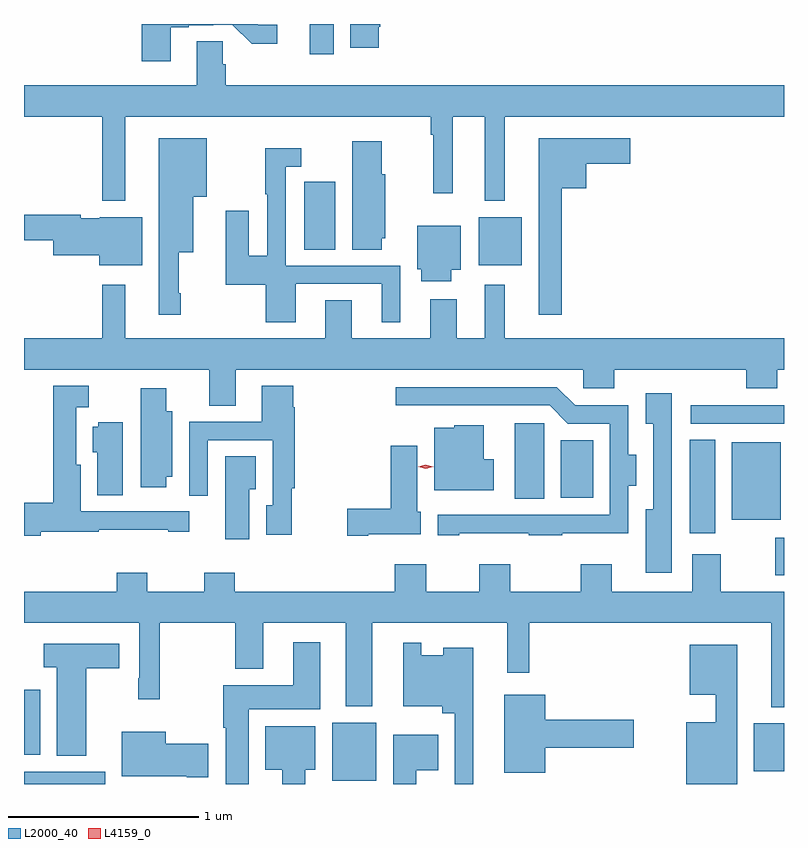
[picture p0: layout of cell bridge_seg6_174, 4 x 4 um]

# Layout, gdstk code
import gdstk
lib = gdstk.Library(unit=1e-6, precision=1e-09)
def R(c, l, rs):  # rectangles x0, y0, x1, y1
    for r in rs: c.add(gdstk.rectangle(r[:2], r[2:], *l))
def P(c, l, *ps):  # polygons
    for p in ps: c.add(gdstk.Polygon(p, *l))
L2000_40 = (2000, 40)
L4159_0 = (4159, 0)

bridge_seg6_174 = lib.new_cell('bridge_seg6_174')
R(bridge_seg6_174, L2000_40, [(171.183,966.467,171.61,966.531), (172.805,966.485,173.038,966.79), (175.025,966.533,175.183,966.787), (171.183,966.62,171.268,966.964), (175.138,967.566,175.183,967.764), (174.686,967.788,174.82,968.279), (174.908,967.859,175.165,968.266), (173.765,967.969,173.92,968.365), (174.008,967.973,174.178,968.275), (174.693,968.364,175.183,968.46), (173.576,969.197,173.803,969.451), (172.658,969.28,172.822,969.637), (172.688,970.308,172.813,970.467)])
P(bridge_seg6_174, L2000_40, [(171.955,970.449),(172.051,970.449),(172.051,970.461),(172.178,970.461),(172.178,970.464),(172.278,970.464),(172.381,970.362),(172.516,970.362),(172.516,970.464),(172.416,970.464),(172.413,970.467),(171.803,970.467),(171.803,970.272),(171.955,970.272)],
  [(173.05,970.453),(173.057,970.453),(173.057,970.467),(172.901,970.467),(172.901,970.341),(173.05,970.341)],
  [(171.715,969.98),(173.323,969.98),(173.323,969.884),(173.338,969.884),(173.338,969.576),(173.44,969.576),(173.44,969.98),(173.609,969.98),(173.609,969.536),(173.713,969.536),(173.713,969.98),(175.183,969.98),(175.183,970.144),(172.244,970.144),(172.244,970.254),(172.23,970.254),(172.23,970.376),(172.091,970.376),(172.091,970.144),(171.183,970.144),(171.183,969.98),(171.594,969.98),(171.594,969.536),(171.715,969.536)],
  [(174.013,969.602),(174.142,969.602),(174.142,969.731),(174.373,969.731),(174.373,969.865),(173.891,969.865),(173.891,968.937),(174.013,968.937)],
  [(172.007,969.049),(171.997,969.049),(171.997,969.266),(172.075,969.266),(172.075,969.557),(172.144,969.557),(172.144,969.865),(171.893,969.865),(171.893,968.937),(172.007,968.937)],
  [(173.065,969.339),(173.083,969.339),(173.083,969.675),(173.065,969.675),(173.065,969.85),(172.91,969.85),(172.91,969.28),(173.065,969.28)],
  [(172.612,969.099),(173.066,969.099),(173.066,968.898),(173.164,968.898),(173.164,969.195),(172.56,969.195),(172.56,969.717),(172.642,969.717),(172.642,969.814),(172.452,969.814),(172.452,969.571),(172.464,969.571),(172.464,969.248),(172.366,969.248),(172.366,969.484),(172.244,969.484),(172.244,969.095),(172.456,969.095),(172.456,968.898),(172.612,968.898)],
  [(171.805,969.451),(171.582,969.451),(171.582,969.445),(171.482,969.445),(171.482,969.464),(171.183,969.464),(171.183,969.328),(171.338,969.328),(171.338,969.251),(171.578,969.251),(171.578,969.197),(171.805,969.197)],
  [(173.431,969.173),(173.482,969.173),(173.482,969.406),(173.252,969.406),(173.252,969.177),(173.273,969.177),(173.273,969.113),(173.431,969.113)],
  [(172.297,968.648),(174.126,968.648),(174.126,968.55),(174.29,968.55),(174.29,968.648),(174.983,968.648),(174.983,968.549),(175.148,968.549),(175.148,968.648),(175.183,968.648),(175.183,968.812),(173.713,968.812),(173.713,969.094),(173.609,969.094),(173.609,968.812),(173.461,968.812),(173.461,969.019),(173.321,969.019),(173.321,968.812),(172.909,968.812),(172.909,969.014),(172.769,969.014),(172.769,968.812),(171.715,968.812),(171.715,969.094),(171.594,969.094),(171.594,968.812),(171.183,968.812),(171.183,968.648),(172.157,968.648),(172.157,968.458),(172.297,968.458)],
  [(171.27,967.794),(171.577,967.794),(171.577,967.804),(171.941,967.804),(171.941,967.794),(172.053,967.794),(172.053,967.902),(171.481,967.902),(171.481,968.148),(171.457,968.148),(171.457,968.45),(171.523,968.45),(171.523,968.563),(171.336,968.563),(171.336,967.946),(171.183,967.946),(171.183,967.774),(171.27,967.774)],
  [(172.592,968.023),(172.607,968.023),(172.607,968.45),(172.601,968.45),(172.601,968.563),(172.433,968.563),(172.433,968.373),(172.053,968.373),(172.053,967.983),(172.149,967.983),(172.149,968.277),(172.491,968.277),(172.491,967.935),(172.457,967.935),(172.457,967.779),(172.592,967.779)],
  [(173.473,967.787),(173.839,967.787),(173.839,967.776),(174.017,967.776),(174.017,967.787),(174.363,967.787),(174.363,968.036),(174.406,968.036),(174.406,968.2),(174.364,968.2),(174.364,968.46),(174.084,968.46),(173.988,968.556),(173.139,968.556),(173.139,968.46),(173.949,968.46),(174.045,968.364),(174.267,968.364),(174.267,967.884),(173.361,967.884),(173.361,967.776),(173.473,967.776)],
  [(171.931,968.084),(171.964,968.084),(171.964,968.428),(171.931,968.428),(171.931,968.551),(171.797,968.551),(171.797,968.028),(171.931,968.028)],
  [(174.592,967.8),(174.591,967.8),(174.591,968.524),(174.455,968.524),(174.455,968.363),(174.495,968.363),(174.495,967.912),(174.455,967.912),(174.455,967.578),(174.592,967.578)],
  [(171.703,968.371),(171.573,968.371),(171.573,968.346),(171.545,968.346),(171.545,968.214),(171.569,968.214),(171.569,967.987),(171.703,967.987)],
  [(173.656,968.176),(173.602,968.176),(173.602,968.356),(173.448,968.356),(173.448,968.341),(173.342,968.341),(173.342,968.012),(173.656,968.012)],
  [(172.996,967.781),(173.272,967.781),(173.272,967.899),(173.254,967.899),(173.254,968.248),(173.114,968.248),(173.114,967.916),(172.884,967.916),(172.884,967.774),(172.996,967.774)],
  [(172.369,968.018),(172.402,968.018),(172.402,968.192),(172.241,968.192),(172.241,967.755),(172.369,967.755)],
  [(175.183,967.48),(174.849,967.48),(174.849,967.675),(174.701,967.675),(174.701,967.48),(174.277,967.48),(174.277,967.624),(174.113,967.624),(174.113,967.48),(173.743,967.48),(173.743,967.624),(173.579,967.624),(173.579,967.48),(173.299,967.48),(173.299,967.624),(173.135,967.624),(173.135,967.48),(172.292,967.48),(172.292,967.579),(172.132,967.579),(172.132,967.48),(171.831,967.48),(171.831,967.579),(171.671,967.579),(171.671,967.48),(171.183,967.48),(171.183,967.316),(171.789,967.316),(171.789,967.024),(171.784,967.024),(171.784,966.912),(171.898,966.912),(171.898,967.316),(172.294,967.316),(172.294,967.073),(172.441,967.073),(172.441,967.316),(172.877,967.316),(172.877,966.875),(173.017,966.875),(173.017,967.316),(173.726,967.316),(173.726,967.053),(173.843,967.053),(173.843,967.316),(175.115,967.316),(175.115,966.872),(175.183,966.872)],
  [(172.366,966.86),(172.741,966.86),(172.741,967.213),(172.601,967.213),(172.601,966.988),(172.232,966.988),(172.232,966.763),(172.244,966.763),(172.244,966.467),(172.366,966.467)],
  [(173.548,967.183),(173.39,967.183),(173.39,967.144),(173.274,967.144),(173.274,967.21),(173.178,967.21),(173.178,966.875),(173.383,966.875),(173.383,966.839),(173.451,966.839),(173.451,966.467),(173.548,966.467)],
  [(171.511,967.075),(171.685,967.075),(171.685,967.204),(171.288,967.204),(171.288,967.082),(171.356,967.082),(171.356,966.616),(171.511,966.616)],
  [(174.937,967.201),(174.686,967.201),(174.686,966.938),(174.823,966.938),(174.823,966.793),(174.668,966.793),(174.668,966.467),(174.937,966.467)],
  [(173.926,966.659),(174.391,966.659),(174.391,966.806),(173.926,966.806),(173.926,966.937),(173.711,966.937),(173.711,966.527),(173.926,966.527)],
  [(172.663,966.542),(172.717,966.542),(172.717,966.772),(172.454,966.772),(172.454,966.542),(172.541,966.542),(172.541,966.467),(172.663,966.467)],
  [(172.153,966.68),(171.928,966.68),(171.928,966.742),(171.698,966.742),(171.698,966.509),(172.04,966.509),(172.04,966.502),(172.153,966.502)],
  [(173.248,966.539),(173.362,966.539),(173.362,966.727),(173.126,966.727),(173.126,966.467),(173.248,966.467)])
P(bridge_seg6_174, L4159_0, [(173.297,968.127),(173.257,968.136),(173.257,968.136),(173.257,968.136),(173.296,968.147),(173.336,968.138),(173.337,968.138),(173.336,968.138)])

lib.write_gds('bridge_seg6_174.gds')
